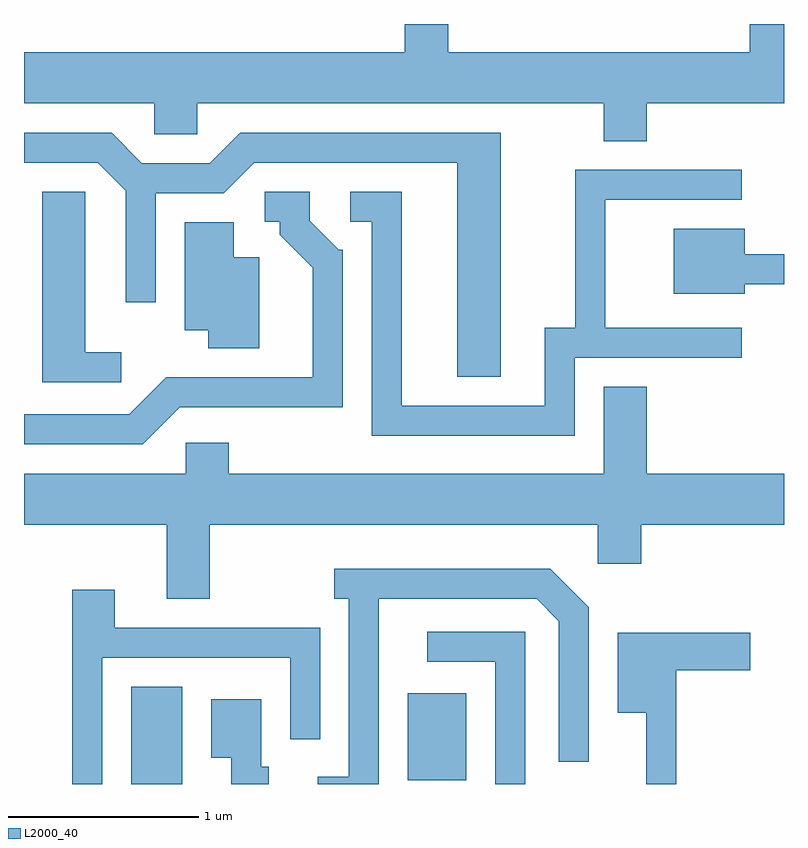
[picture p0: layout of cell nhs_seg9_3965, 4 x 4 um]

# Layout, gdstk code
import gdstk
lib = gdstk.Library(unit=1e-6, precision=1e-09)
def R(c, l, rs):  # rectangles x0, y0, x1, y1
    for r in rs: c.add(gdstk.rectangle(r[:2], r[2:], *l))
def P(c, l, *ps):  # polygons
    for p in ps: c.add(gdstk.Polygon(p, *l))
L2000_40 = (2000, 40)

nhs_seg9_3965 = lib.new_cell('nhs_seg9_3965')
R(nhs_seg9_3965, L2000_40, [(302.176,2010.432,302.444,2010.944), (303.631,2010.451,303.939,2010.909)])
P(nhs_seg9_3965, L2000_40, [(304.889,2014.016),(305.611,2014.016),(305.611,2014.432),(305.431,2014.432),(305.431,2014.284),(303.844,2014.284),(303.844,2014.432),(303.616,2014.432),(303.616,2014.284),(301.611,2014.284),(301.611,2014.016),(302.296,2014.016),(302.296,2013.851),(302.524,2013.851),(302.524,2014.016),(304.661,2014.016),(304.661,2013.816),(304.889,2013.816)],
  [(304.119,2013.859),(302.749,2013.859),(302.589,2013.699),(302.232,2013.699),(302.072,2013.859),(301.611,2013.859),(301.611,2013.701),(301.999,2013.701),(302.146,2013.554),(302.146,2012.968),(302.304,2012.968),(302.304,2013.541),(302.662,2013.541),(302.822,2013.701),(303.891,2013.701),(303.891,2012.576),(304.119,2012.576)],
  [(304.509,2012.676),(305.388,2012.676),(305.388,2012.834),(304.669,2012.834),(304.669,2013.506),(305.388,2013.506),(305.388,2013.664),(304.511,2013.664),(304.511,2012.834),(304.351,2012.834),(304.351,2012.424),(303.599,2012.424),(303.599,2013.549),(303.328,2013.549),(303.328,2013.391),(303.441,2013.391),(303.441,2012.266),(304.509,2012.266)],
  [(302.432,2012.416),(303.289,2012.416),(303.289,2013.244),(303.267,2013.244),(303.114,2013.397),(303.114,2013.549),(302.878,2013.549),(302.878,2013.391),(302.956,2013.391),(302.956,2013.324),(303.131,2013.149),(303.131,2012.574),(302.359,2012.574),(302.164,2012.379),(301.611,2012.379),(301.611,2012.221),(302.237,2012.221)],
  [(302.123,2012.704),(301.934,2012.704),(301.934,2013.549),(301.706,2013.549),(301.706,2012.546),(302.123,2012.546)],
  [(302.849,2013.204),(302.714,2013.204),(302.714,2013.389),(302.456,2013.389),(302.456,2012.821),(302.581,2012.821),(302.581,2012.726),(302.849,2012.726)],
  [(305.404,2013.061),(305.611,2013.061),(305.611,2013.219),(305.404,2013.219),(305.404,2013.354),(305.031,2013.354),(305.031,2013.011),(305.404,2013.011)],
  [(302.589,2011.796),(304.631,2011.796),(304.631,2011.591),(304.859,2011.591),(304.859,2011.796),(305.611,2011.796),(305.611,2012.064),(304.889,2012.064),(304.889,2012.524),(304.661,2012.524),(304.661,2012.064),(302.689,2012.064),(302.689,2012.229),(302.461,2012.229),(302.461,2012.064),(301.611,2012.064),(301.611,2011.796),(302.361,2011.796),(302.361,2011.406),(302.589,2011.406)],
  [(303.479,2011.406),(304.309,2011.406),(304.426,2011.289),(304.426,2010.548),(304.584,2010.548),(304.584,2011.362),(304.382,2011.564),(303.243,2011.564),(303.243,2011.406),(303.321,2011.406),(303.321,2010.469),(303.158,2010.469),(303.158,2010.432),(303.479,2010.432)],
  [(302.024,2011.096),(303.011,2011.096),(303.011,2010.668),(303.169,2010.668),(303.169,2011.254),(302.089,2011.254),(302.089,2011.454),(301.866,2011.454),(301.866,2010.432),(302.024,2010.432)],
  [(304.249,2011.234),(303.733,2011.234),(303.733,2011.076),(304.091,2011.076),(304.091,2010.432),(304.249,2010.432)],
  [(305.044,2011.031),(305.434,2011.031),(305.434,2011.229),(304.736,2011.229),(304.736,2010.806),(304.886,2010.806),(304.886,2010.432),(305.044,2010.432)],
  [(302.899,2010.524),(302.859,2010.524),(302.859,2010.879),(302.596,2010.879),(302.596,2010.571),(302.701,2010.571),(302.701,2010.432),(302.899,2010.432)])

lib.write_gds('nhs_seg9_3965.gds')
